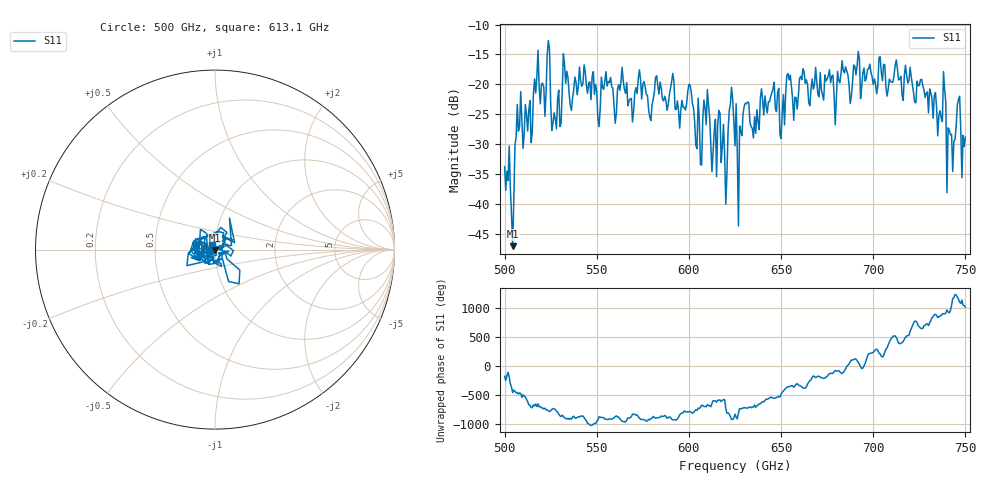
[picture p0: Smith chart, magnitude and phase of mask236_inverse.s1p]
!Created with skrf (http://scikit-rf.org).
# GHz S MA R 50.0
!freq magS11 angS11
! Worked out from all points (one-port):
!   401 points, 500 GHz to 750 GHz, reference 50 ohm
!   lowest |S11| = -47.1 dB at 504.4 GHz (marker M1), VSWR 1.01, Z = 49.9 - j0.437 ohm
!   |S11| at or under -10 dB: start of sweep to end of sweep
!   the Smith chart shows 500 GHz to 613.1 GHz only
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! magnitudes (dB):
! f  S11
! 500 GHz  -33.7
! 504.4 GHz  -47.1
! 507.5 GHz  -27.8
! 513.8 GHz  -22.7
! 516.9 GHz  -21.5
! 523.8 GHz  -12.7
! 526.9 GHz  -24.8
! 531.2 GHz  -21.3
! 562.5 GHz  -21.0
! 579.4 GHz  -26.0
! 590.6 GHz  -19.5
! 593.8 GHz  -22.8
! 600.6 GHz  -20.1
! 605.6 GHz  -25.9
! 609.4 GHz  -26.8
! 619.4 GHz  -31.7
! 622.5 GHz  -23.3
! 625 GHz  -30.3
! 627.5 GHz  -27.0
! 631.2 GHz  -23.3
! 635 GHz  -29.0
! 656.2 GHz  -22.5
! 687.5 GHz  -23.2
! 691.2 GHz  -16.9
! 718.8 GHz  -19.8
! 738.1 GHz  -17.9
! 741.2 GHz  -27.6
! 750 GHz  -28.8
